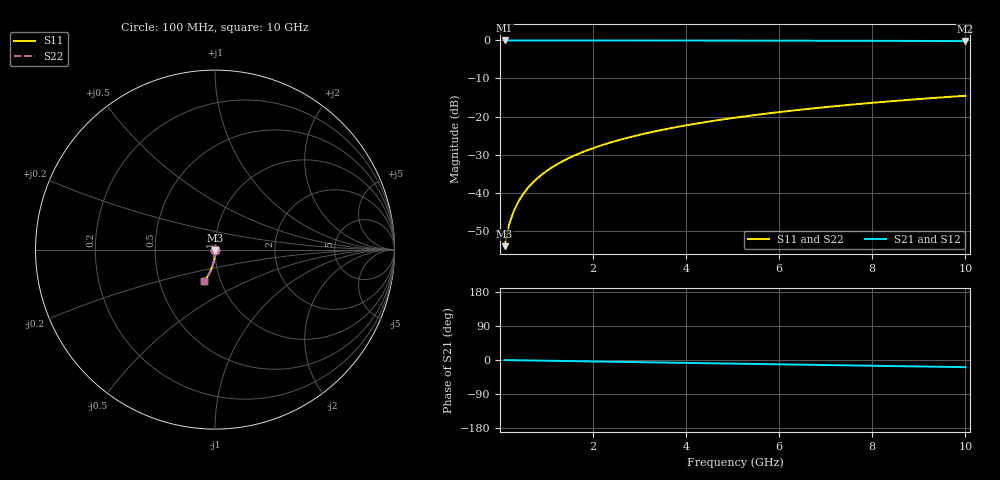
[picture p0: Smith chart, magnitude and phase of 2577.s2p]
# Hz S RI R 50.00
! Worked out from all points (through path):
!   100 points, 100 MHz to 10 GHz, reference 50 ohm
!   highest |S21| = 0.00 dB at 100 MHz (marker M1); lowest = -0.2 dB at 10 GHz (marker M2)
!   group delay of S21, straight-line fit = 5.25 ps
!   lowest |S11| = -54.1 dB at 100 MHz (marker M3), VSWR 1.00, Z = 50 - j0.192 ohm
!   |S11| at or under -10 dB: start of sweep to end of sweep
!   |S22| runs from -54.1 to -14.5 dB; largest |S21 - S12| = 0
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1e8  0.000473 -0.00192  0.9995 -0.00332  0.9995 -0.00332  0.000473 -0.00192
2e8  0.000454 -0.00385  0.9995 -0.00663  0.9995 -0.00663  0.000454 -0.00385
3e8  0.000422 -0.00577  0.9994 -0.00995  0.9994 -0.00995  0.000422 -0.00577
4e8  0.000377 -0.00769  0.9994 -0.0133  0.9994 -0.0133  0.000377 -0.00769
5e8  0.000319 -0.00961  0.9993 -0.0166  0.9993 -0.0166  0.000319 -0.00961
6e8  0.000248 -0.0115  0.9992 -0.0199  0.9992 -0.0199  0.000248 -0.0115
7e8  0.000164 -0.0135  0.9991 -0.0232  0.9991 -0.0232  0.000164 -0.0135
8e8  6.69e-05 -0.0154  0.999 -0.0265  0.999 -0.0265  6.69e-05 -0.0154
9e8  -4.28e-05 -0.0173  0.9989 -0.0298  0.9989 -0.0298  -4.28e-05 -0.0173
1.1e9  -0.000301 -0.0211  0.9986 -0.0365  0.9986 -0.0365  -0.000301 -0.0211
1.4e9  -0.000783 -0.0269  0.998 -0.0464  0.998 -0.0464  -0.000783 -0.0269
1.8e9  -0.0016 -0.0345  0.9971 -0.0596  0.9971 -0.0596  -0.0016 -0.0345
2.1e9  -0.00235 -0.0403  0.9962 -0.0695  0.9962 -0.0695  -0.00235 -0.0403
2.5e9  -0.00353 -0.0479  0.9948 -0.0827  0.9948 -0.0827  -0.00353 -0.0479
2.9e9  -0.00491 -0.0554  0.9932 -0.0959  0.9932 -0.0959  -0.00491 -0.0554
3.4e9  -0.00691 -0.0648  0.9909 -0.1123  0.9909 -0.1123  -0.00691 -0.0648
4.2e9  -0.0108 -0.0797  0.9865 -0.1383  0.9865 -0.1383  -0.0108 -0.0797
5.1e9  -0.016 -0.0961  0.9804 -0.1674  0.9804 -0.1674  -0.016 -0.0961
5.9e9  -0.0215 -0.1105  0.974 -0.1929  0.974 -0.1929  -0.0215 -0.1105
6.7e9  -0.0277 -0.1244  0.9668 -0.2181  0.9668 -0.2181  -0.0277 -0.1244
8.4e9  -0.0432 -0.1528  0.9487 -0.2704  0.9487 -0.2704  -0.0432 -0.1528
1e10  -0.0605 -0.1776  0.9285 -0.3178  0.9285 -0.3178  -0.0605 -0.1776
